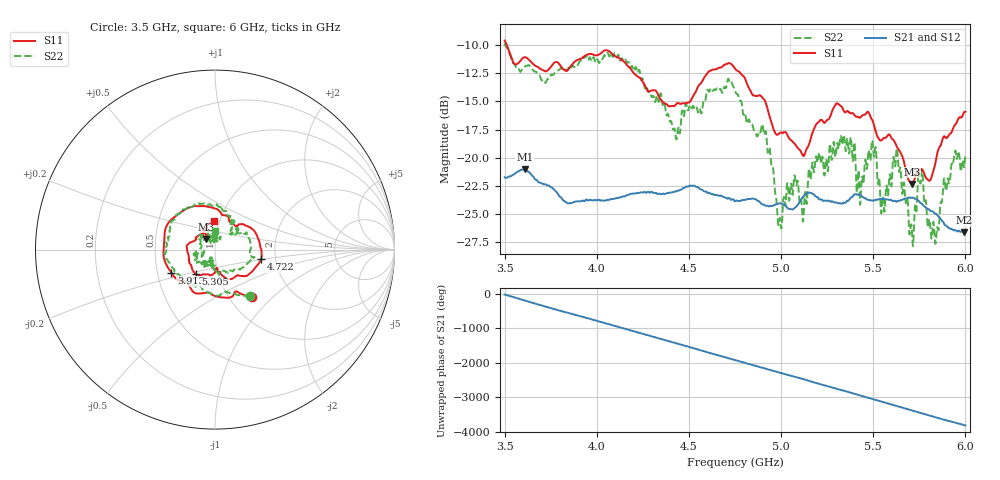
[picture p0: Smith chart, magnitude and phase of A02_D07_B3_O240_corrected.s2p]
! Created with skrf 1.9.0 (http://scikit-rf.org).
# Hz S RI R 50.0
!freq ReS11 ImS11 ReS21 ImS21 ReS12 ImS12 ReS22 ImS22
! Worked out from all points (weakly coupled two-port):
!   1601 points, 3.5 GHz to 6 GHz, reference 50 ohm
!   highest |S21| = -21.04 dB at 3.609 GHz (marker M1); lowest = -26.6 dB at 5.994 GHz (marker M2)
!   lowest |S11| = -22.3 dB at 5.711 GHz (marker M3), VSWR 1.17, Z = 45.1 + j5.38 ohm
!   |S11| at or under -10 dB: 3.512 GHz to end of sweep
!   |S22| runs from -27.9 to -9.8 dB; largest |S21 - S12| = 0.0011
!   S11 on the Smith chart (normalised r, x): 3.5 GHz: 1.27, -0.75; 3.913 GHz: 0.59, -0.17; 4.722 GHz: 1.68, -0.19; 5.305 GHz: 0.78, -0.22; 6 GHz: 0.94, +0.31
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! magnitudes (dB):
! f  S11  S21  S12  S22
! 3.5 GHz  -9.6  -21.7  -21.7  -9.8
! 3.609 GHz  -11.1  -21.0  -21.1  -11.9
! 3.913 GHz  -11.2  -23.9  -23.9  -11.4
! 3.917 GHz  -11.2  -23.9  -23.8  -11.3
! 4.334 GHz  -14.5  -23.2  -23.2  -15.0
! 4.439 GHz  -15.1  -22.9  -22.9  -17.6
! 4.722 GHz  -11.6  -23.6  -23.6  -13.3
! 4.75 GHz  -12.1  -23.9  -23.8  -14.0
! 4.908 GHz  -14.8  -24.2  -24.2  -17.9
! 4.992 GHz  -17.8  -24.1  -24.0  -25.3
! 5.167 GHz  -17.9  -23.2  -23.2  -20.8
! 5.305 GHz  -15.2  -24.0  -24.0  -18.7
! 5.422 GHz  -16.4  -23.3  -23.3  -21.4
! 5.503 GHz  -17.0  -23.8  -23.8  -19.9
! 5.584 GHz  -17.9  -23.7  -23.7  -22.4
! 5.636 GHz  -19.2  -23.8  -23.8  -20.6
! 5.711 GHz  -22.3  -23.5  -23.5  -26.8
! 5.755 GHz  -21.1  -24.0  -24.0  -22.2
! 5.844 GHz  -19.9  -25.0  -25.0  -26.6
! 5.936 GHz  -17.3  -26.5  -26.4  -20.2
! 5.994 GHz  -15.9  -26.6  -26.6  -20.8
! 6 GHz  -15.9  -26.6  -26.6  -19.6
